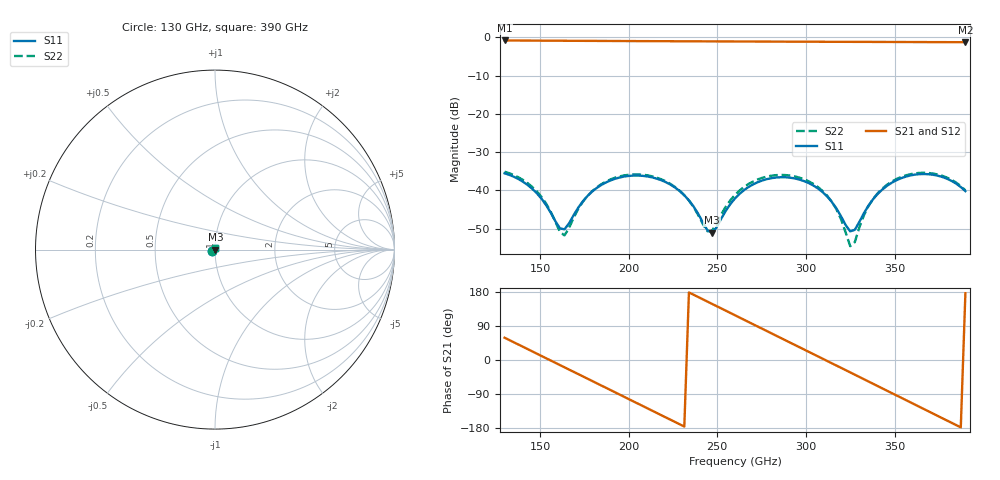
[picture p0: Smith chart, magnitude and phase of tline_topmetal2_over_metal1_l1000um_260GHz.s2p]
#  GHZ S DB R 50
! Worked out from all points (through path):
!   101 points, 130 GHz to 390 GHz, reference 50 ohm
!   highest |S21| = -0.78 dB at 130 GHz (marker M1); lowest = -1.2 dB at 390 GHz (marker M2)
!   group delay of S21, straight-line fit = 6.44 ps
!   lowest |S11| = -51.1 dB at 247 GHz (marker M3), VSWR 1.01, Z = 50.3 - j0.0429 ohm
!   |S11| at or under -10 dB: start of sweep to end of sweep
!   |S22| runs from -54.6 to -35.1 dB; largest |S21 - S12| = 1e-13
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130  -35.53 -159.8  -0.78 58.8  -0.78 58.8  -35.12 -157.9
148.2  -40.76 140.6  -0.83 16.7  -0.83 16.7  -40.28 145.5
163.8  -50.19 15.9  -0.86 -19.3  -0.86 -19.3  -51.77 20.9
174.2  -42.83 -66.7  -0.88 -43.3  -0.88 -43.3  -42.94 -68.3
195  -36.61 -137.6  -0.93 -91.5  -0.93 -91.5  -36.32 -136.2
205.4  -36.12 -168.2  -0.95 -115.5  -0.95 -115.5  -35.82 -166.0
218.4  -37.34 153.4  -0.97 -145.6  -0.97 -145.6  -37.09 156.5
234  -42.60 100.5  -1.00 178.3  -1.00 178.3  -42.65 103.8
244.4  -50.42 27.5  -1.02 154.2  -1.02 154.2  -50.67 23.6
247  -51.10 -8.8  -1.02 148.2  -1.02 148.2  -50.60 -14.3
260  -42.10 -106.9  -1.05 118.1  -1.05 118.1  -41.17 -103.2
270.4  -38.38 -142.4  -1.06 94.0  -1.06 94.0  -37.63 -137.1
280.8  -36.78 -173.2  -1.08 69.8  -1.08 69.8  -36.14 -166.9
304.2  -38.72 118.4  -1.12 15.6  -1.12 15.6  -38.30 128.1
317.2  -44.70 68.8  -1.14 -14.6  -1.14 -14.6  -44.91 84.7
325  -50.72 -1.9  -1.15 -32.7  -1.15 -32.7  -54.59 10.1
327.6  -50.31 -39.1  -1.15 -38.8  -1.15 -38.8  -53.54 -45.7
335.4  -43.91 -102.5  -1.16 -56.9  -1.16 -56.9  -44.04 -107.0
348.4  -38.01 -149.9  -1.18 -87.1  -1.18 -87.1  -37.71 -148.6
358.8  -36.10 -179.9  -1.19 -111.3  -1.19 -111.3  -35.77 -176.6
371.8  -35.91 144.3  -1.21 -141.5  -1.21 -141.5  -35.60 149.5
390  -40.19 91.7  -1.24 176.2  -1.24 176.2  -39.98 101.5
